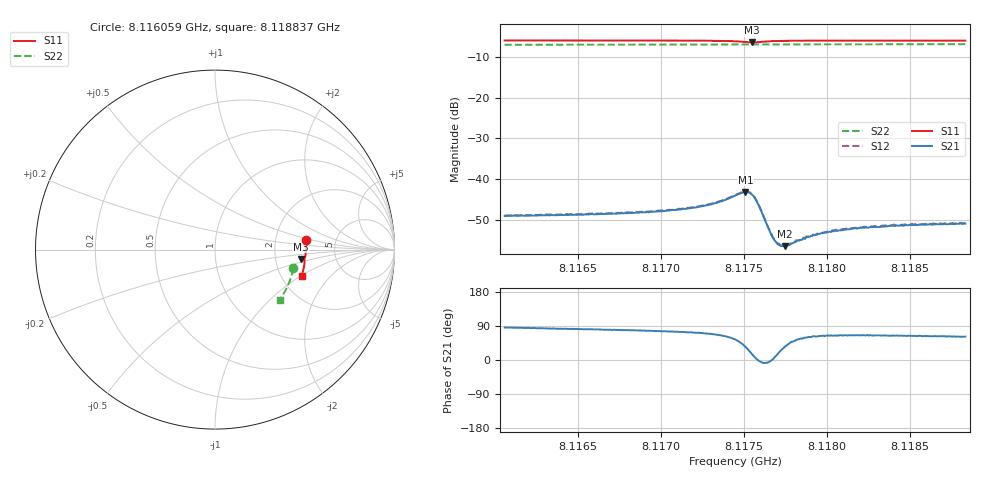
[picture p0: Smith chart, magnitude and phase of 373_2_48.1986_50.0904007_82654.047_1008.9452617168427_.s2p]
#  HZ  S  RI  R  50.00
! Rohde & Schwarz Vector Network Analyzer
! Rohde-Schwarz,ZNB20-2Port,1311601062101988,3.16
! Created: UTC 3/20/2024, 11:52:47 AM
! freq[Hz]  re:S11  im:S11  re:S21  im:S21  re:S12  im:S12  re:S22  im:S22
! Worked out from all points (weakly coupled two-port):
!   401 points, 8.116059 GHz to 8.118837 GHz, reference 50 ohm
!   highest |S21| = -43.21 dB at 8.117511 GHz (marker M1); lowest = -56.6 dB at 8.117747 GHz (marker M2)
!   lowest |S11| = -6.4 dB at 8.117552 GHz (marker M3), VSWR 2.85, Z = 140 - j18.9 ohm
!   |S11| at or under -10 dB: nowhere
!   |S22| runs from -7.0 to -6.8 dB; largest |S21 - S12| = 0.00018
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8.1160594e9  0.5044 0.0537  0.000249 0.00348  0.00032 0.00353  0.4362 -0.1053
8.1165246e9  0.5063 0.0188  0.00054 0.00359  0.00057 0.00367  0.4289 -0.1366
8.1169898e9  0.5054 -0.0172  0.00095 0.00388  0.00102 0.00395  0.419 -0.1675
8.1171356e9  0.5042 -0.029  0.00119 0.0041  0.00125 0.00417  0.4155 -0.1769
8.1172675e9  0.5022 -0.0405  0.00159 0.00442  0.00169 0.00448  0.412 -0.1859
8.1173508e9  0.4997 -0.0485  0.00213 0.00472  0.00221 0.00481  0.4098 -0.1911
8.117448e9  0.4925 -0.0581  0.00363 0.00505  0.00374 0.0051  0.4066 -0.1974
8.1175105e9  0.4821 -0.0591  0.00565 0.00397  0.00579 0.00397  0.4046 -0.2011
8.1175313e9  0.4789 -0.0562  0.00617 0.00292  0.00631 0.0029  0.4039 -0.2021
8.1175522e9  0.4778 -0.052  0.00616 0.00162  0.00628 0.00163  0.4033 -0.2034
8.1175661e9  0.4787 -0.0489  0.00581 0.0008  0.00594 0.000753  0.4029 -0.204
8.1175869e9  0.482 -0.0459  0.00491 -3.18e-05  0.00501 -0.000125  0.4027 -0.205
8.1176494e9  0.4927 -0.0479  0.00246 -0.000259  0.00248 -0.000273  0.4013 -0.209
8.1176772e9  0.4954 -0.0511  0.00187 7.35e-05  0.00189 6.57e-05  0.4008 -0.211
8.117691e9  0.4962 -0.0528  0.00169 0.000282  0.00175 0.000267  0.4002 -0.2118
8.1177119e9  0.4973 -0.0551  0.00146 0.000517  0.00151 0.000515  0.3996 -0.2133
8.1177466e9  0.4982 -0.0591  0.00122 0.000843  0.00127 0.000861  0.3986 -0.2155
8.1179132e9  0.4986 -0.0753  0.000937 0.00175  0.000997 0.00175  0.3935 -0.2261
8.1180521e9  0.4971 -0.0869  0.000992 0.0021  0.00102 0.00213  0.3888 -0.2346
8.1182048e9  0.4951 -0.0989  0.00105 0.00229  0.00109 0.00228  0.3835 -0.2441
8.1183784e9  0.4921 -0.112  0.00116 0.00237  0.00117 0.00241  0.3773 -0.2547
8.1188367e9  0.4831 -0.1453  0.00133 0.00248  0.00139 0.00252  0.3594 -0.2814
